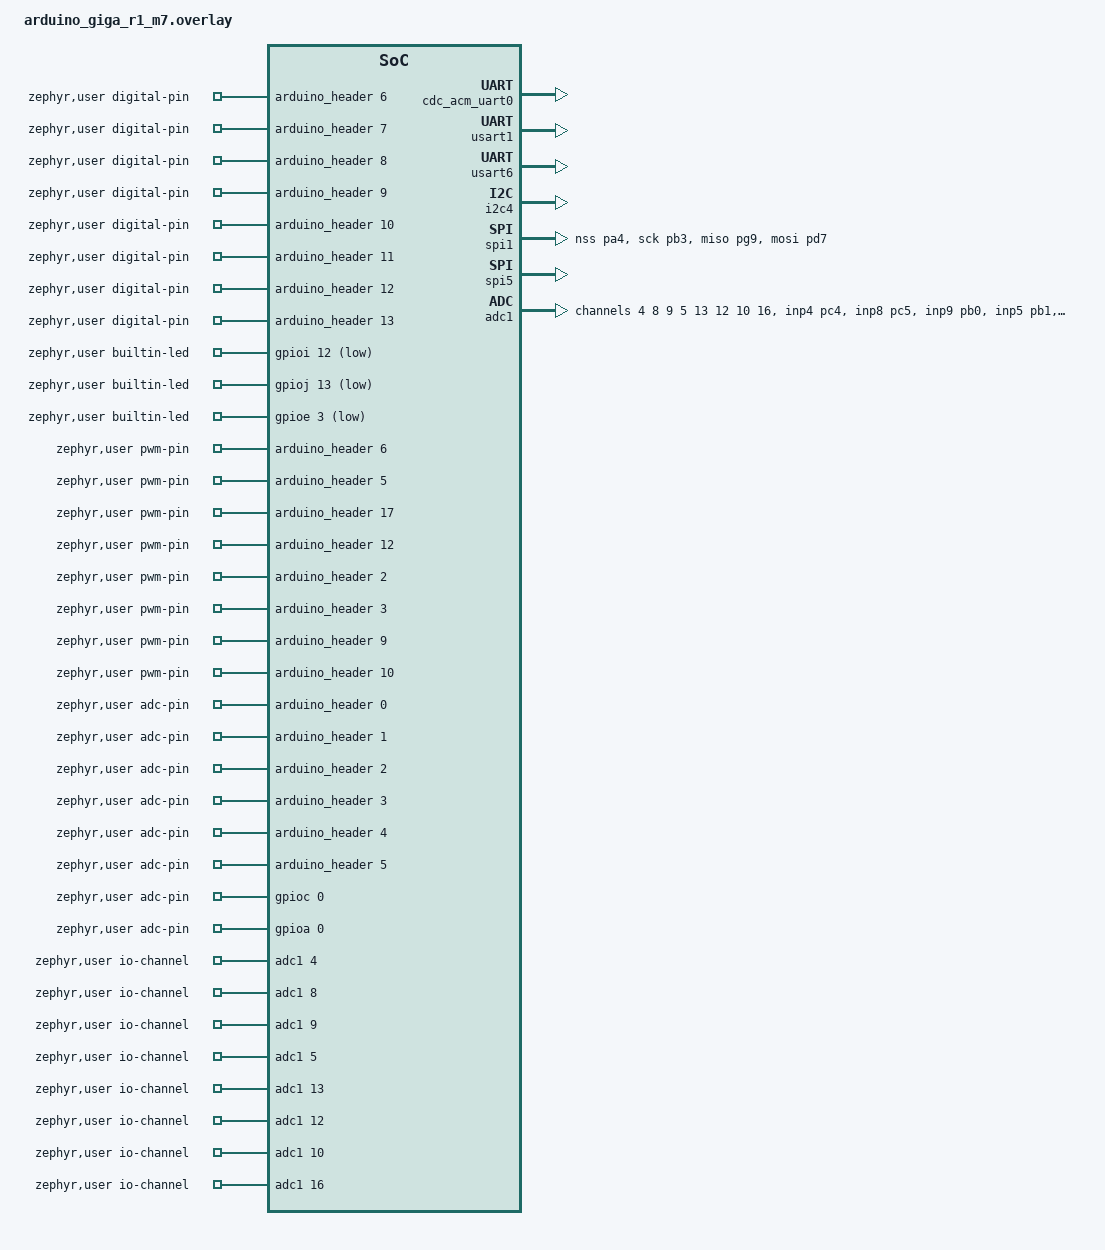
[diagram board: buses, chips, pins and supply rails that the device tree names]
&zephyr_udc0 {
	cdc_acm_uart0: cdc_acm_uart0 {
		compatible = "zephyr,cdc-acm-uart";
		status = "okay";
	};
};

&usart1 {
	status = "okay";
};

&usart6 {
	status = "okay";
};

&i2c4 {
	status = "okay";
};

&spi1 {
	status = "okay";
	pinctrl-0 = <&spi1_nss_pa4 &spi1_sck_pb3
		     &spi1_miso_pg9 &spi1_mosi_pd7>;
	pinctrl-names = "default";
};


&spi5 {
	status = "okay";
};

&adc1 {
	pinctrl-0 = <&adc1_inp4_pc4
		&adc1_inp8_pc5
		&adc1_inp9_pb0
		&adc1_inp5_pb1
		&adc1_inp13_pc3
		&adc1_inp12_pc2
		&adc1_inp10_pc0
		&adc1_inp16_pa0>;
	pinctrl-names = "default";
	st,adc-clock-source = <SYNC>;
	st,adc-prescaler = <4>;
	status = "okay";

	#address-cells = <1>;
	#size-cells = <0>;

	channel@4 {
		reg = <4>;
		zephyr,gain = "ADC_GAIN_1";
		zephyr,reference = "ADC_REF_INTERNAL";
		zephyr,acquisition-time = <ADC_ACQ_TIME_MAX>;
		zephyr,resolution = <12>;
	};
	channel@8 {
		reg = <8>;
		zephyr,gain = "ADC_GAIN_1";
		zephyr,reference = "ADC_REF_INTERNAL";
		zephyr,acquisition-time = <ADC_ACQ_TIME_MAX>;
		zephyr,resolution = <12>;
	};
	channel@9 {
		reg = <9>;
		zephyr,gain = "ADC_GAIN_1";
		zephyr,reference = "ADC_REF_INTERNAL";
		zephyr,acquisition-time = <ADC_ACQ_TIME_MAX>;
		zephyr,resolution = <12>;
	};
	channel@5 {
		reg = <5>;
		zephyr,gain = "ADC_GAIN_1";
		zephyr,reference = "ADC_REF_INTERNAL";
		zephyr,acquisition-time = <ADC_ACQ_TIME_MAX>;
		zephyr,resolution = <12>;
	};
	channel@13 {
		reg = <13>;
		zephyr,gain = "ADC_GAIN_1";
		zephyr,reference = "ADC_REF_INTERNAL";
		zephyr,acquisition-time = <ADC_ACQ_TIME_MAX>;
		zephyr,resolution = <12>;
	};
	channel@12 {
		reg = <12>;
		zephyr,gain = "ADC_GAIN_1";
		zephyr,reference = "ADC_REF_INTERNAL";
		zephyr,acquisition-time = <ADC_ACQ_TIME_MAX>;
		zephyr,resolution = <12>;
	};
	channel@10 {
		reg = <10>;
		zephyr,gain = "ADC_GAIN_1";
		zephyr,reference = "ADC_REF_INTERNAL";
		zephyr,acquisition-time = <ADC_ACQ_TIME_MAX>;
		zephyr,resolution = <12>;
	};
	channel@16 {
		reg = <16>;
		zephyr,gain = "ADC_GAIN_1";
		zephyr,reference = "ADC_REF_INTERNAL";
		zephyr,acquisition-time = <ADC_ACQ_TIME_MAX>;
		zephyr,resolution = <12>;
	};
};

/ {
	soc {
		flash-controller@52002000 {
			flash0: flash@8000000 {
				compatible = "st,stm32-nv-flash", "soc-nv-flash";
				write-block-size = <32>;
				erase-block-size = <DT_SIZE_K(128)>;
				/* maximum erase time for a 128K sector */
				max-erase-time = <4000>;

				reg = <0x08000000 DT_SIZE_K(1024)>;
				status = "okay";

				partitions {
					compatible = "fixed-partitions";
					#address-cells = <1>;
					#size-cells = <1>;

					user_sketch: partition@0 {
						reg = <0x0E0000 0x20000>;
					};
				};
			};
		};
	};
};

/ {
	zephyr,user {
		digital-pin-gpios = <&arduino_header 6 0>,
				    <&arduino_header 7 0>,
				    <&arduino_header 8 0>,
				    <&arduino_header 9 0>,
				    <&arduino_header 10 0>,
				    <&arduino_header 11 0>,
				    <&arduino_header 12 0>,
				    <&arduino_header 13 0>,
				    <&arduino_header 14 0>,
				    <&arduino_header 15 0>,
				    <&arduino_header 16 0>,
				    <&arduino_header 17 0>,
				    <&arduino_header 18 0>,
				    <&arduino_header 19 0>,
				    <&arduino_header 20 0>,
				    <&arduino_header 21 0>,
				    <&arduino_header 0 0>,
				    <&arduino_header 1 0>,
				    <&arduino_header 2 0>,
				    <&arduino_header 3 0>,
				    <&arduino_header 4 0>,
				    <&arduino_header 5 0>,
					<&gpioc 0 0>,
				    <&gpioa 0 0>,
				    <&gpioi 12 GPIO_ACTIVE_LOW>,
				    <&gpioj 13 GPIO_ACTIVE_LOW>,
				    <&gpioe 3 GPIO_ACTIVE_LOW>;

		builtin-led-gpios = <&gpioi 12 GPIO_ACTIVE_LOW>,
                        <&gpioj 13 GPIO_ACTIVE_LOW>,
                        <&gpioe 3 GPIO_ACTIVE_LOW>;

		pwm-pin-gpios =	    <&arduino_header 6 0>,
				    <&arduino_header 5 0>,
				    <&arduino_header 17 0>,
				    <&arduino_header 12 0>,
				    <&arduino_header 2 0>,
				    <&arduino_header 3 0>,
				    <&arduino_header 9 0>,
				    <&arduino_header 10 0>;

		adc-pin-gpios =     <&arduino_header 0 0>,
				    <&arduino_header 1 0>,
				    <&arduino_header 2 0>,
				    <&arduino_header 3 0>,
				    <&arduino_header 4 0>,
				    <&arduino_header 5 0>,
				    <&gpioc 0 0>,
				    <&gpioa 0 0>;

		serials = <&cdc_acm_uart0>, <&usart1>, <&usart6>;
		cdc-acm = <&cdc_acm_uart0>;
		i2cs = <&i2c4>;
		spis = <&spi1>, <&spi5>;
		pwms = <>;

		io-channels =	<&adc1 4>,
				<&adc1 8>,
				<&adc1 9>,
				<&adc1 5>,
				<&adc1 13>,
				<&adc1 12>,
				<&adc1 10>,
				<&adc1 16>;
	};
};
